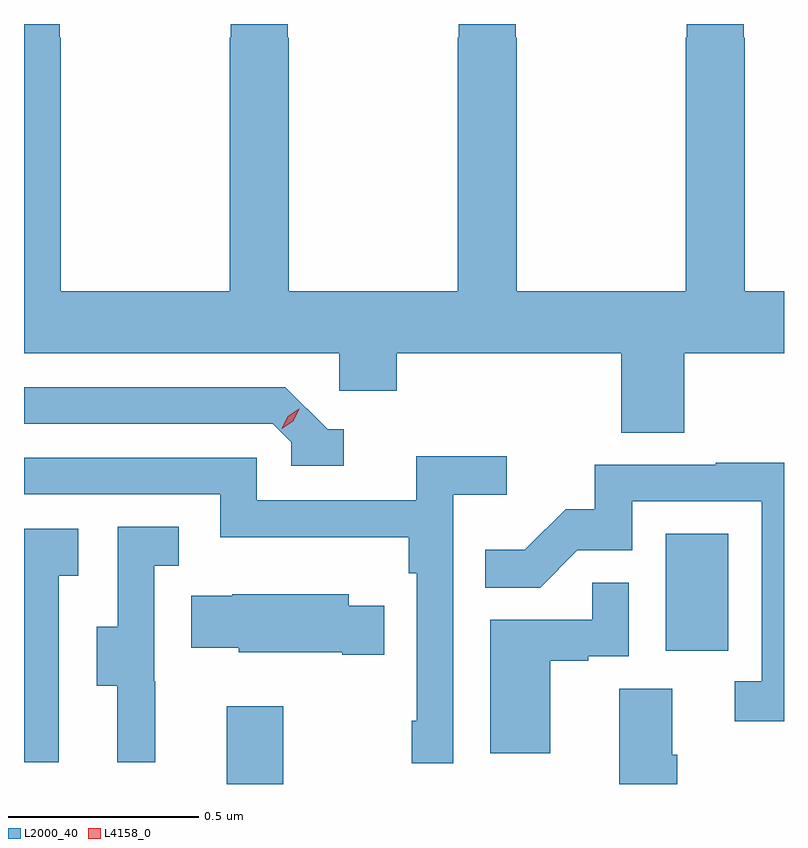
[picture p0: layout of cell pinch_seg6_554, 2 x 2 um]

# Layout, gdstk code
import gdstk
lib = gdstk.Library(unit=1e-6, precision=1e-09)
def R(c, l, rs):  # rectangles x0, y0, x1, y1
    for r in rs: c.add(gdstk.rectangle(r[:2], r[2:], *l))
def P(c, l, *ps):  # polygons
    for p in ps: c.add(gdstk.Polygon(p, *l))
L2000_40 = (2000, 40)
L4158_0 = (4158, 0)

pinch_seg6_554 = lib.new_cell('pinch_seg6_554')
R(pinch_seg6_554, L2000_40, [(841.307,918.231,841.455,918.436), (842.462,918.582,842.626,918.889)])
P(pinch_seg6_554, L2000_40, [(841.917,920.231),(841.917,920.195),(841.915,920.195),(841.915,919.528),(841.47,919.528),(841.47,920.195),(841.467,920.195),(841.467,920.231),(841.317,920.231),(841.317,920.195),(841.315,920.195),(841.315,919.528),(840.87,919.528),(840.87,920.195),(840.867,920.195),(840.867,920.231),(840.773,920.231),(840.773,919.364),(841.602,919.364),(841.602,919.266),(841.754,919.266),(841.754,919.364),(842.345,919.364),(842.345,919.156),(842.51,919.156),(842.51,919.364),(842.773,919.364),(842.773,919.528),(842.67,919.528),(842.67,920.195),(842.667,920.195),(842.667,920.231),(842.517,920.231),(842.517,920.195),(842.515,920.195),(842.515,919.528),(842.07,919.528),(842.07,920.195),(842.067,920.195),(842.067,920.231)],
  [(841.615,919.164),(841.572,919.164),(841.461,919.275),(840.773,919.275),(840.773,919.179),(841.428,919.179),(841.476,919.131),(841.476,919.068),(841.615,919.068)],
  [(841.902,918.992),(842.044,918.992),(842.044,919.094),(841.805,919.094),(841.805,918.978),(841.386,918.978),(841.386,919.089),(840.773,919.089),(840.773,918.993),(841.29,918.993),(841.29,918.881),(841.786,918.881),(841.786,918.785),(841.806,918.785),(841.806,918.397),(841.794,918.397),(841.794,918.285),(841.902,918.285)],
  [(842.773,919.076),(842.593,919.076),(842.593,919.071),(842.275,919.071),(842.275,918.954),(842.198,918.954),(842.091,918.847),(841.987,918.847),(841.987,918.748),(842.131,918.748),(842.229,918.846),(842.373,918.846),(842.373,918.975),(842.715,918.975),(842.715,918.501),(842.643,918.501),(842.643,918.396),(842.773,918.396)],
  [(841.118,918.501),(841.116,918.501),(841.116,918.805),(841.18,918.805),(841.18,918.908),(841.02,918.908),(841.02,918.645),(840.965,918.645),(840.965,918.49),(841.019,918.49),(841.019,918.288),(841.118,918.288)],
  [(840.864,918.779),(840.916,918.779),(840.916,918.903),(840.773,918.903),(840.773,918.288),(840.864,918.288)],
  [(842.158,918.555),(842.258,918.555),(842.258,918.567),(842.364,918.567),(842.364,918.761),(842.269,918.761),(842.269,918.663),(842,918.663),(842,918.312),(842.158,918.312)],
  [(841.721,918.7),(841.627,918.7),(841.627,918.73),(841.321,918.73),(841.321,918.727),(841.213,918.727),(841.213,918.59),(841.338,918.59),(841.338,918.578),(841.61,918.578),(841.61,918.571),(841.721,918.571)],
  [(842.492,918.308),(842.479,918.308),(842.479,918.482),(842.339,918.482),(842.339,918.231),(842.492,918.231)])
P(pinch_seg6_554, L4158_0, [(841.451,919.166),(841.451,919.166),(841.467,919.199),(841.497,919.219),(841.497,919.219),(841.497,919.218),(841.482,919.186),(841.451,919.166)])

lib.write_gds('pinch_seg6_554.gds')
